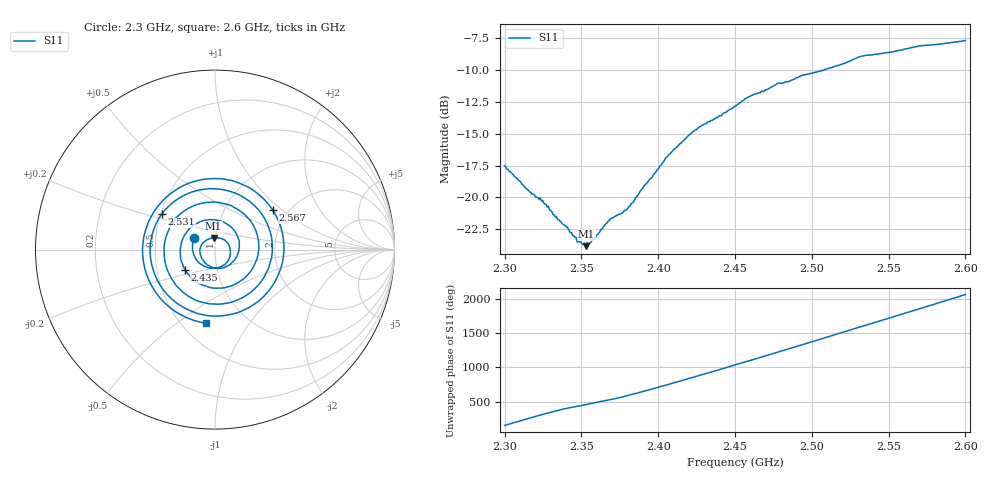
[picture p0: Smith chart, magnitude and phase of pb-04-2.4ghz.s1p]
! NanoVNA-App
! Date: 2026-05-22 17:22:01
! Start: 2.3GHz Stop: 2.6GHz Points: 401
! S-Parameter data: F S11
# Hz S RI R 50
!  Frequency  S11_Real  S11_Imag
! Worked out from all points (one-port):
!   401 points, 2.3 GHz to 2.6 GHz, reference 50 ohm
!   lowest |S11| = -23.8 dB at 2.353 GHz (marker M1), VSWR 1.14, Z = 48.8 + j6.26 ohm
!   |S11| at or under -10 dB: start of sweep to 2.508 GHz
!   S11 on the Smith chart (normalised r, x): 2.3 GHz: 0.78, +0.10; 2.435 GHz: 0.70, -0.16; 2.531 GHz: 0.51, +0.23; 2.567 GHz: 1.67, +0.87; 2.6 GHz: 0.65, -0.65
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2.3e9  -0.1179 0.0622
2.3165e9  -0.0146 -0.1039
2.3375e9  0.07 0.0364
2.35325e9  -0.00772 0.0639
2.375e9  -0.081 -0.0287
2.39225e9  0.0584 -0.0968
2.4125e9  0.0578 0.1473
2.42225e9  -0.1181 0.1366
2.435e9  -0.1655 -0.1127
2.45e9  0.1628 -0.1599
2.45975e9  0.2344 0.0861
2.47025e9  -0.00244 0.2651
2.47925e9  -0.2486 0.1328
2.4875e9  -0.2561 -0.1348
2.498e9  0.0468 -0.3018
2.50925e9  0.3184 -0.0186
2.51825e9  0.1698 0.2841
2.525e9  -0.094 0.3306
2.531e9  -0.2972 0.1968
2.53925e9  -0.3359 -0.1376
2.54825e9  -0.0358 -0.3685
2.55425e9  0.2217 -0.302
2.5625e9  0.3838 0.0226
2.567e9  0.3226 0.2196
2.57675e9  -0.0776 0.3894
2.5865e9  -0.3956 0.0762
2.5925e9  -0.3492 -0.2086
2.6e9  -0.0498 -0.4105
